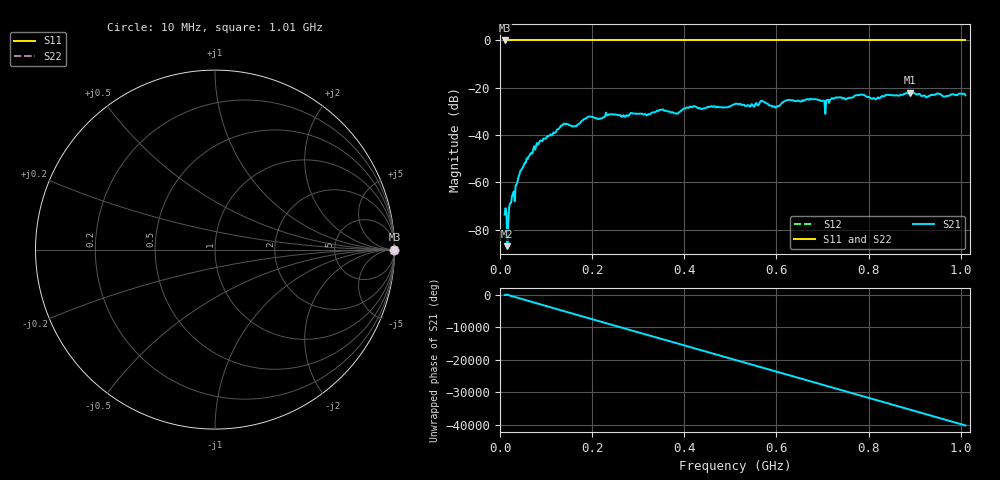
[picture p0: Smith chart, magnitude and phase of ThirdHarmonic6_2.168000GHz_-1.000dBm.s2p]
! 8/17/2025 1:52:25 AM
! C:\ANRITSUVNA\TEMP\TEMP.S2P
! CHANNEL.1
! TR.MEASUREMENT
! RAW.DATA
! RF.CORRECTION.OFF
! AVERAGING.OFF
! IF.BANDWIDTH: 5KHZ
! SWEEPTYPE:  FREQ.SWEEP(Linear)
! Reference Plane Port Info
! PORT:  PORT1  PORT2
! DISTANCE:  0  m  0  m
! TIME:  0  s  0  s
! PHASE.OFFSET:  0  deg.  0  deg.
! LOSS:  0  dB  0  dB
! REF.LOSS:  0  dB  0  dB
! REF.FREQ:  0  Hz  0  Hz
! Power Info
! POWER:  -20  dBm  -20  dBm
! EFF.POWER:  -20  dBm  -20  dBm
! SOURCE.ATTEN:  0  dB  0  dB
! TEST.ATTEN:  0  dB  0  dB
# GHZ S RI R 50.0
! FREQ.GHZ  S11RE  S11IM  S21RE  S21IM  S12RE  S12IM  S22RE  S22IM
!; PortSelection: Port_12
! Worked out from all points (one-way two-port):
!   501 points, 10 MHz to 1.01 GHz, reference 50 ohm
!   highest |S21| = -22.05 dB at 890 MHz (marker M1); lowest = -86.9 dB at 16 MHz (marker M2)
!   lowest |S11| = 0.0 dB at 10 MHz (marker M3)
!   |S11| at or under -10 dB: nowhere
!   |S22| runs from 0.0 to 0.0 dB; largest |S21 - S12| = 1.1
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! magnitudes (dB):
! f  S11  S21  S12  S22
! 10 MHz  0.0  -73.6  0.0  0.0
! 16 MHz  0.0  -86.9  0.0  0.0
! 20 MHz  0.0  -70.2  0.0  0.0
! 24 MHz  0.0  -68.6  0.0  0.0
! 44 MHz  0.0  -55.2  0.0  0.0
! 76 MHz  0.0  -46.2  0.0  0.0
! 136 MHz  0.0  -35.8  0.0  0.0
! 162 MHz  0.0  -36.3  0.0  0.0
! 178 MHz  0.0  -33.9  0.0  0.0
! 344 MHz  0.0  -29.8  0.0  0.0
! 382 MHz  0.0  -30.8  0.0  0.0
! 416 MHz  0.0  -28.3  0.0  0.0
! 510 MHz  0.0  -26.9  0.0  0.0
! 570 MHz  0.0  -25.7  0.0  0.0
! 596 MHz  0.0  -27.8  0.0  0.0
! 624 MHz  0.0  -25.1  0.0  0.0
! 678 MHz  0.0  -24.9  0.0  0.0
! 710 MHz  0.0  -25.2  0.0  0.0
! 732 MHz  0.0  -24.2  0.0  0.0
! 844 MHz  0.0  -23.1  0.0  0.0
! 890 MHz  0.0  -22.1  0.0  0.0
! 1.01 GHz  0.0  -23.2  0.0  0.0
